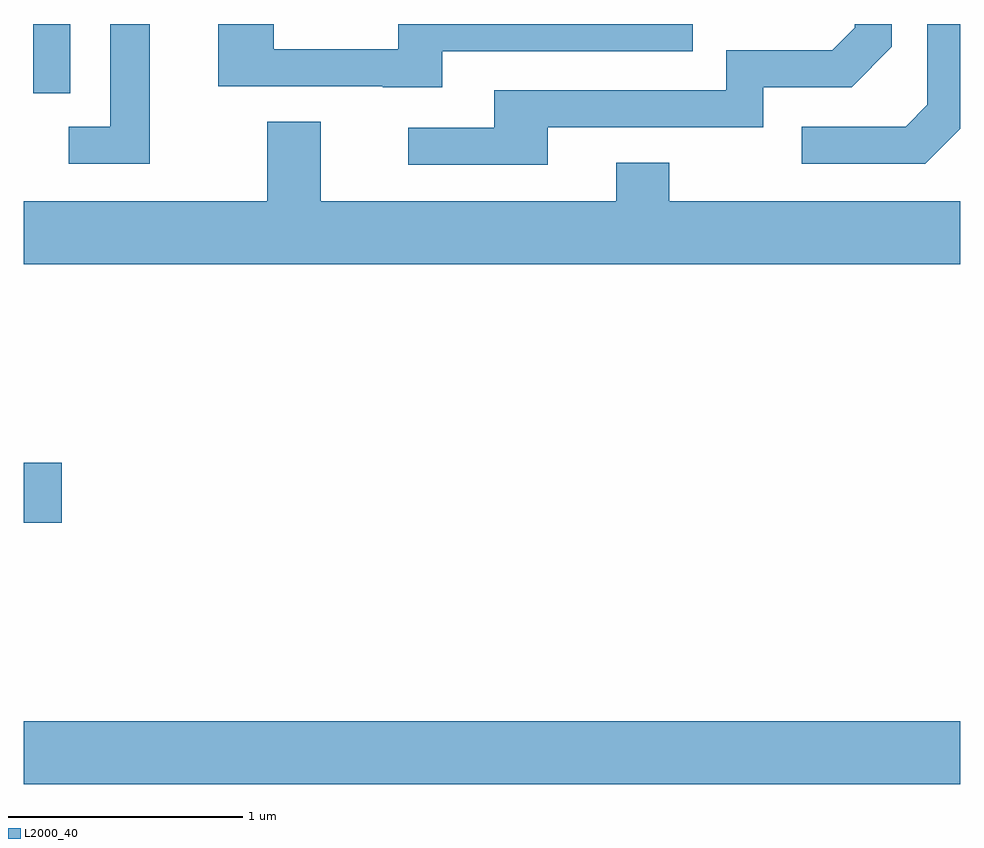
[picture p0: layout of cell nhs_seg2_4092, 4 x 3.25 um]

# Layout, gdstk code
import gdstk
lib = gdstk.Library(unit=1e-6, precision=1e-09)
def R(c, l, rs):  # rectangles x0, y0, x1, y1
    for r in rs: c.add(gdstk.rectangle(r[:2], r[2:], *l))
def P(c, l, *ps):  # polygons
    for p in ps: c.add(gdstk.Polygon(p, *l))
L2000_40 = (2000, 40)

nhs_seg2_4092 = lib.new_cell('nhs_seg2_4092')
R(nhs_seg2_4092, L2000_40, [(305.611,1030.556,309.611,1030.824), (305.611,1031.671,305.774,1031.929), (305.651,1033.507,305.809,1033.802)])
P(nhs_seg2_4092, L2000_40, [(309.611,1033.355),(309.611,1033.802),(309.471,1033.802),(309.471,1033.457),(309.379,1033.364),(308.933,1033.364),(308.933,1033.206),(309.462,1033.206)],
  [(307.849,1033.361),(308.769,1033.361),(308.769,1033.531),(309.147,1033.531),(309.319,1033.704),(309.319,1033.802),(309.161,1033.802),(309.161,1033.786),(309.064,1033.689),(308.611,1033.689),(308.611,1033.519),(307.621,1033.519),(307.621,1033.359),(307.253,1033.359),(307.253,1033.201),(307.849,1033.201)],
  [(307.399,1033.686),(308.468,1033.686),(308.468,1033.802),(307.211,1033.802),(307.211,1033.694),(306.679,1033.694),(306.679,1033.802),(306.441,1033.802),(306.441,1033.536),(307.145,1033.536),(307.145,1033.531),(307.399,1033.531)],
  [(306.149,1033.802),(305.981,1033.802),(305.981,1033.364),(305.803,1033.364),(305.803,1033.206),(306.149,1033.206)],
  [(309.611,1033.044),(308.369,1033.044),(308.369,1033.209),(308.141,1033.209),(308.141,1033.044),(306.879,1033.044),(306.879,1033.384),(306.651,1033.384),(306.651,1033.044),(305.611,1033.044),(305.611,1032.776),(309.611,1032.776)])

lib.write_gds('nhs_seg2_4092.gds')
